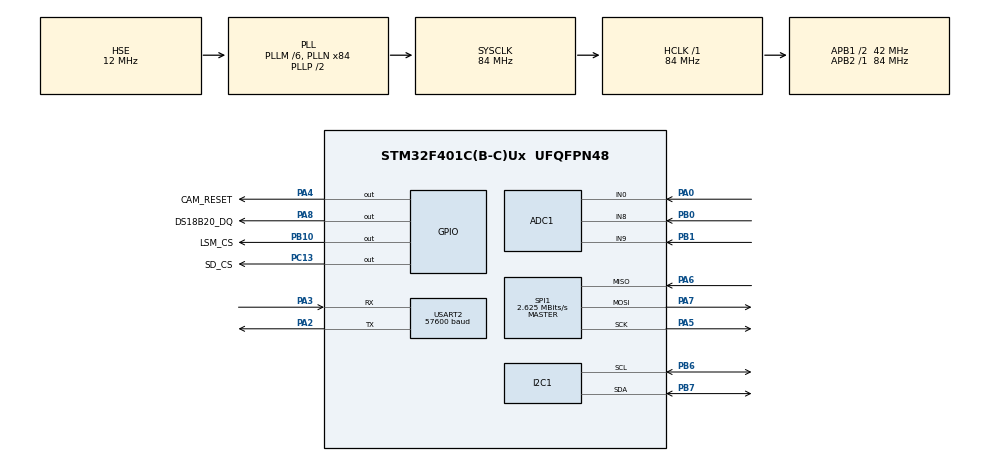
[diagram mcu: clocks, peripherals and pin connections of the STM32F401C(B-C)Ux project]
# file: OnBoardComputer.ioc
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ADC1.Channel-0\#ChannelRegularConversion=ADC_CHANNEL_0
ADC1.Channel-1\#ChannelRegularConversion=ADC_CHANNEL_8
ADC1.Channel-2\#ChannelRegularConversion=ADC_CHANNEL_9
ADC1.ContinuousConvMode=ENABLE
ADC1.DMAContinuousRequests=ENABLE
ADC1.NbrOfConversion=3
ADC1.NbrOfConversionFlag=1
ADC1.Rank-0\#ChannelRegularConversion=1
ADC1.Rank-1\#ChannelRegularConversion=2
ADC1.Rank-2\#ChannelRegularConversion=3
ADC1.SamplingTime-0\#ChannelRegularConversion=ADC_SAMPLETIME_480CYCLES
ADC1.SamplingTime-1\#ChannelRegularConversion=ADC_SAMPLETIME_480CYCLES
ADC1.SamplingTime-2\#ChannelRegularConversion=ADC_SAMPLETIME_480CYCLES
ADC1.ScanConvMode=ENABLE
ADC1.master=1
Dma.ADC1.0.Direction=DMA_PERIPH_TO_MEMORY
Dma.ADC1.0.FIFOMode=DMA_FIFOMODE_DISABLE
Dma.ADC1.0.Instance=DMA2_Stream0
Dma.ADC1.0.MemDataAlignment=DMA_MDATAALIGN_HALFWORD
Dma.ADC1.0.MemInc=DMA_MINC_ENABLE
Dma.ADC1.0.Mode=DMA_CIRCULAR
Dma.ADC1.0.PeriphDataAlignment=DMA_PDATAALIGN_HALFWORD
Dma.ADC1.0.PeriphInc=DMA_PINC_DISABLE
Dma.ADC1.0.Priority=DMA_PRIORITY_LOW
Dma.Request0=ADC1
FATFS._MAX_SS=4096
FATFS._USE_LFN=1
Mcu.Family=STM32F4
Mcu.Name=STM32F401C(B-C)Ux
Mcu.Package=UFQFPN48
NVIC.DMA2_Stream0_IRQn=true\:0\:0\:false\:false\:true\:false\:true\:true
NVIC.PriorityGroup=NVIC_PRIORITYGROUP_4
PA0-WKUP.Signal=ADCx_IN0
PA13.Mode=Serial_Wire
PA13.Signal=SYS_JTMS-SWDIO
PA14.Mode=Serial_Wire
PA14.Signal=SYS_JTCK-SWCLK
PA2.Mode=Asynchronous
PA2.Signal=USART2_TX
PA3.Mode=Asynchronous
PA3.Signal=USART2_RX
PA4.GPIO_Label=CAM_RESET
PA4.GPIO_ModeDefaultOutputPP=GPIO_MODE_OUTPUT_OD
PA4.GPIO_PuPd=GPIO_PULLUP
PA4.PinState=GPIO_PIN_SET
PA4.Signal=GPIO_Output
PA5.Mode=Full_Duplex_Master
PA5.Signal=SPI1_SCK
PA6.Mode=Full_Duplex_Master
PA6.Signal=SPI1_MISO
PA7.Mode=Full_Duplex_Master
PA7.Signal=SPI1_MOSI
PA8.GPIO_Label=DS18B20_DQ
PA8.GPIO_ModeDefaultOutputPP=GPIO_MODE_OUTPUT_OD
PA8.GPIO_PuPd=GPIO_PULLUP
PA8.GPIO_Speed=GPIO_SPEED_FREQ_HIGH
PA8.PinState=GPIO_PIN_SET
PA8.Signal=GPIO_Output
PB0.Signal=ADCx_IN8
PB1.Signal=ADCx_IN9
PB10.GPIO_Label=LSM_CS
PB10.GPIO_ModeDefaultOutputPP=GPIO_MODE_OUTPUT_PP
PB10.PinState=GPIO_PIN_SET
PB10.Signal=GPIO_Output
PB6.GPIO_Mode=GPIO_MODE_AF_OD
PB6.GPIO_Pu=GPIO_PULLUP
PB6.GPIO_Speed=GPIO_SPEED_FREQ_HIGH
PB6.Mode=I2C
PB6.Signal=I2C1_SCL
PB7.GPIO_Mode=GPIO_MODE_AF_OD
PB7.GPIO_Pu=GPIO_PULLUP
PB7.GPIO_Speed=GPIO_SPEED_FREQ_HIGH
PB7.Mode=I2C
PB7.Signal=I2C1_SDA
PC13-ANTI_TAMP.GPIO_Label=SD_CS
PC13-ANTI_TAMP.PinState=GPIO_PIN_SET
PC13-ANTI_TAMP.Signal=GPIO_Output
PH0\ -\ OSC_IN.Mode=HSE-External-Oscillator
PH0\ -\ OSC_IN.Signal=RCC_OSC_IN
PH1\ -\ OSC_OUT.Mode=HSE-External-Oscillator
PH1\ -\ OSC_OUT.Signal=RCC_OSC_OUT
ProjectManager.HeapSize=0x200
ProjectManager.StackSize=0x400
ProjectManager.TargetToolchain=STM32CubeIDE
RCC.48MHZClocksFreq_Value=42000000
RCC.AHBFreq_Value=84000000
RCC.APB1CLKDivider=RCC_HCLK_DIV2
RCC.APB1Freq_Value=42000000
RCC.APB1TimFreq_Value=84000000
RCC.APB2Freq_Value=84000000
RCC.APB2TimFreq_Value=84000000
RCC.CortexFreq_Value=84000000
RCC.HCLKFreq_Value=84000000
RCC.HSE_VALUE=12000000
RCC.HSI_VALUE=16000000
RCC.LSE_VALUE=32768
RCC.PLLM=6
RCC.PLLN=84
RCC.PLLSourceVirtual=RCC_PLLSOURCE_HSE
RCC.SYSCLKFreq_VALUE=84000000
RCC.SYSCLKSource=RCC_SYSCLKSOURCE_PLLCLK
RCC.VCOOutputFreq_Value=168000000
SH.ADCx_IN0.0=ADC1_IN0,IN0
SH.ADCx_IN8.0=ADC1_IN8,IN8
SH.ADCx_IN9.0=ADC1_IN9,IN9
SPI1.BaudRatePrescaler=SPI_BAUDRATEPRESCALER_32
SPI1.CalculateBaudRate=2.625 MBits/s
SPI1.Direction=SPI_DIRECTION_2LINES
SPI1.Mode=SPI_MODE_MASTER
SPI1.VirtualType=VM_MASTER
TIM11.Prescaler=84-1
TIM2.Prescaler=84-1
USART2.BaudRate=57600
USART2.VirtualMode=VM_ASYNC
VP_FATFS_VS_Generic.Mode=User_defined
VP_TIM11_VS_ClockSourceINT.Mode=Enable_Timer
VP_TIM2_VS_ClockSourceINT.Mode=Internal
board=custom

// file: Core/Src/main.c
/* USER CODE BEGIN Header */
/**
 ******************************************************************************
 * @file           : main.c
 * @brief          : Main program body
 ******************************************************************************
 * @attention
 *
 * Copyright (c) 2022 STMicroelectronics.
 * All rights reserved.
 *
 * This software is licensed under terms that can be found in the LICENSE file
 * in the root directory of this software component.
 * If no LICENSE file comes with this software, it is provided AS-IS.
 *
 ******************************************************************************
 */
/* USER CODE END Header */
#include "main.h"
#include "fatfs.h"

/* USER CODE BEGIN Includes */
#include "SMA_Filter/SMA_filter_lib.h"
#include "DS18B20/DS18B20.h"
#include "LSM6DS3/LSM6DS3.h"
#include "QMC5883L/QMC5883L.h"
#include "MS5607/MS5607.h"
#include "RadioTransmit/Transmitter.h"
#include "UCAM3/UCAM3.h"
#include <stdio.h>
/* USER CODE END Includes */

 ADC_HandleTypeDef hadc1;
DMA_HandleTypeDef hdma_adc1;

I2C_HandleTypeDef hi2c1;

SPI_HandleTypeDef hspi1;

TIM_HandleTypeDef htim2;
TIM_HandleTypeDef htim11;

UART_HandleTypeDef huart2;

/* USER CODE BEGIN PV */
Telemetry telemetry;
Health health;
SoftTimers softTimers;

uint16_t ADC_data[3];
uint16_t SMA_Filter_Buffer_Vbat[SMA_FILTER_ORDER] = { 0, };
uint16_t SMA_Filter_Buffer_ICHARGE[SMA_FILTER_ORDER] = { 0, };
uint16_t SMA_Filter_Buffer_IDISCHARGE[SMA_FILTER_ORDER] = { 0, };

FATFS fs;
FIL fil;
FRESULT fresult;
char buffer[1024];
UINT br, bw;
FATFS *pfs;
DWORD fre_clust;
uint32_t total, free_space;
uint8_t NameLength = 35;
uint16_t PicNum = 0;

uint16_t ADC_Raw[3] = {0x00, 0x00, 0x00};
/* USER CODE END PV */

void SystemClock_Config(void);
static void MX_GPIO_Init(void);
static void MX_TIM2_Init(void);
static void MX_I2C1_Init(void);
static void MX_SPI1_Init(void);
static void MX_DMA_Init(void);
static void MX_USART2_UART_Init(void);
static void MX_ADC1_Init(void);
static void MX_TIM11_Init(void);
/* USER CODE BEGIN PFP */
float ADC_ConvertVBat(uint16_t VbatRaw);
float ADC_Convert_IDS(uint16_t I_raw);
float ADC_Convert_ICH(uint16_t I_raw);
/* USER CODE END PFP */

/* USER CODE BEGIN 0 */

void Delay_us(uint16_t Time) {
	__HAL_TIM_SET_COUNTER(&htim11, 0);

	while (__HAL_TIM_GET_COUNTER(&htim11) < Time);
}

void StructsInit() {

}

uint8_t TransmitRadio(uint8_t *Data, uint8_t Length) {
	uint8_t CommData[3] = { 0x0D, 0x01, Length };

	HAL_StatusTypeDef Status = HAL_I2C_Master_Transmit(&hi2c1, 0x00, CommData, 3, 1000);

	if (Status != HAL_OK) {
		return Transmit_ERROR;
	}

	Delay_us(1000);
	HAL_I2C_Master_Transmit(&hi2c1, 0x00, Data, Length, 1000);

	return Transmit_OK;
}

uint8_t GetAllGPS()
{
	UINT bw;
	uint8_t CommData[3] = { 0x0D, 0x03, 0x00 };

	HAL_StatusTypeDef Status = HAL_I2C_Master_Transmit(&hi2c1, 0x00, CommData, 3, 1000);

	if (Status != HAL_OK) {
		return Transmit_ERROR;
	}

	uint8_t Lth;
	HAL_I2C_Master_Receive(&hi2c1, 0x00, &Lth, 1, 1000);
	uint8_t AllData[Lth];
	HAL_I2C_Master_Receive(&hi2c1, 0x00, AllData, Lth, 1000);

	fresult = f_open(&fil, "AllGPS.bin", FA_OPEN_APPEND | FA_OPEN_ALWAYS | FA_READ | FA_WRITE);
	fresult = f_write(&fil, AllData, Lth, &bw);
	fresult = f_close(&fil);

	return Transmit_OK;
}

uint8_t GetGPS(float *Height, float *Longitude, float *Attitude) {
	uint8_t CommData[3] = { 0x0D, 0x02, 0x00 };
	uint8_t Data[12];
	HAL_StatusTypeDef Status = HAL_I2C_Master_Transmit(&hi2c1, 0x00, CommData,
			3, 1000);

	if (Status != HAL_OK) {
		return Transmit_ERROR;
	}

	HAL_I2C_Master_Receive(&hi2c1, 0x00, Data, 12, 1000);

	*Height = (Data[0] | Data[1] | Data[2] | Data[3]);
	*Longitude = (Data[4] | Data[5] | Data[6] | Data[7]);
	*Attitude = (Data[8] | Data[9] | Data[10] | Data[11]);

	return Transmit_OK;
}

void HealthMonitor() {
	if (health.DS18B20_OK == 0) {
		HAL_TIM_Base_Start(&htim11);
		if (DS18_Init(DS18_SKIP_ROM) == DS18_OK) {
			DS18_StartConv(DS18_SKIP_ROM);
			health.DS18B20_OK = 1;
		}
	}
	if (health.LSM6_OK == 0) {
		LSM6DS3_Init();
		health.LSM6_OK = 1;
	}
	if (health.QMC_OK == 0) {
		QMC5883L_Init(QMC5883L_ODR_100HZ, QMC5883L_RNG_2G, QMC5883L_OSR_512,
		QMC5883L_MODE_CONT);
		health.QMC_OK = 1;
	}
	if (health.MS56_OK == 0) {
		MS5607_Init();
		health.MS56_OK = 1;
	}
	if(health.UCAM_OK == 0){
		if(UCAM3_Init() == UCAM3_OK)
		{
			health.UCAM_OK = 1;
		}
	}

}
void GetData() {

	if (softTimers.DS18B20_REQ > 800) {

		uint16_t temp = 0;

		DS18_GetData(DS18_SKIP_ROM, &temp);
		DS18_StartConv(DS18_SKIP_ROM);
		telemetry.DS18_temp = temp;
		softTimers.DS18B20_REQ = 0;

	}
	if (softTimers.LSM6DS3_REQ > 20) {
		int16_t LSM6DS3_Acc[3];
		int16_t LSM6DS3_Gyro[3];
		LSM6DS3_GetData(LSM6DS3_Acc, LSM6DS3_Gyro);
		telemetry.AccX = LSM6DS3_Acc[0];
		telemetry.GyroX = LSM6DS3_Gyro[0];
		telemetry.AccY = LSM6DS3_Acc[1];
		telemetry.GyroY = LSM6DS3_Gyro[1];
		telemetry.AccZ = LSM6DS3_Acc[2];
		telemetry.GyroZ = LSM6DS3_Gyro[2];
		softTimers.LSM6DS3_REQ = 0;
	}
	if (softTimers.QMC5883_REQ > 100) {
		int16_t MagX = 0;
		int16_t MagY = 0;
		int16_t MagZ = 0;
		QMC5883L_Read_Mag_Data(&MagX, &MagY, &MagZ);
		telemetry.MagX = MagX;
		telemetry.MagY = MagY;
		telemetry.MagZ = MagZ;
		softTimers.QMC5883_REQ = 0;
	}
	if (softTimers.MS5607_REQ > 100) {
		uint32_t MS56_Pres = 0;
		MS5607_GetPres(&MS56_Pres);
		telemetry.MS5607_pres = MS56_Pres;
		softTimers.MS5607_REQ = 0;
	}
	if (softTimers.GPS_GetFull > 5000) {
		softTimers.GPS_GetFull = 0;
		GetAllGPS();
	}
	if (softTimers.GPS_GetShort > 1000) {

	}
	if (softTimers.GetPicture > 30000) {
		if(UCAM3_GetPucture(PicNum) != UCAM3_OK)
		{
			health.UCAM_OK = 0;
		}
		PicNum++;
		softTimers.GetPicture = 0;
	}
}
void SendData() {

	if (softTimers.SD_WriteFull > 100) {
		uint8_t data[48];
		SetAllData(&telemetry, data);

		fresult = f_open(&fil, "MainTLM.bin", FA_OPEN_APPEND | FA_OPEN_ALWAYS | FA_READ | FA_WRITE);
		fresult = f_write(&fil, data, 48, &bw);
		fresult = f_close(&fil);
	}

	if (softTimers.RF_SendMain > 500) {
		softTimers.RF_SendMain = 0;
		uint8_t data[24];
		SetRadioData(&telemetry, data);

		TransmitRadio(data, 24);
	}

}

uint16_t CheckForFiles() {
	char fname[NameLength];
	uint16_t n = 0;

	sprintf(&fname[0], "%d.jpeg", n);
	fresult = f_stat(fname, NULL);

	while (fresult != FR_NO_FILE) {
		char fBuffname[NameLength];

		for (int i = 0; i < NameLength; i++) {
			fBuffname[i] = fname[i];
		}

		n++;
		sprintf(&fBuffname[0], "%d.jpeg", n);
		fresult = f_stat(fBuffname, NULL);
	}

	return n;
}

void WriteOnSD(int n, uint8_t *Data, uint8_t Lth) {
	UINT bw;

	char fname[NameLength];
	sprintf(&fname[0], "%d.jpeg", n);
	fresult = f_open(&fil, &fname[0],
			FA_OPEN_APPEND | FA_OPEN_ALWAYS | FA_READ | FA_WRITE);

	fresult = f_write(&fil, Data, Lth, &bw);

	fresult = f_close(&fil);
}
uint8_t Status = UCAM3_ERROR;
/* USER CODE END 0 */

int main(void)
{

  /* MCU Configuration--------------------------------------------------------*/

  /* Reset of all peripherals, Initializes the Flash interface and the Systick. */
  HAL_Init();

  /* Configure the system clock */
  SystemClock_Config();

  /* USER CODE BEGIN SysInit */
	StructsInit();
  /* USER CODE END SysInit */

  /* Initialize all configured peripherals */
  MX_GPIO_Init();
  MX_TIM2_Init();
  MX_I2C1_Init();
  MX_SPI1_Init();
  MX_FATFS_Init();
  MX_DMA_Init();
  MX_USART2_UART_Init();
  MX_ADC1_Init();
  MX_TIM11_Init();
  /* USER CODE BEGIN 2 */

	HAL_GPIO_WritePin(SD_CS_GPIO_Port, SD_CS_Pin, SET);
	LSM6DS3_CS_Prepare();

	HAL_Delay(100);

	HAL_TIM_Base_Start(&htim2);
	HAL_TIM_Base_Start(&htim11);
	fresult = f_mount(&fs, "", 0);

	HAL_ADC_Start_DMA(&hadc1, (uint32_t*)ADC_Raw, 3);

  /* USER CODE END 2 */

  /* Infinite loop */
  /* USER CODE BEGIN WHILE */

	while (1) {
		HealthMonitor();
		GetData();
		SendData();

		telemetry.Vbat = ADC_Raw[0];
		telemetry.I_CH = ADC_Raw[1];
		telemetry.I_DS = ADC_Raw[2];
		telemetry.Ticks = __HAL_TIM_GET_COUNTER(&htim2);

    /* USER CODE END WHILE */

	}
}

void SystemClock_Config(void)
{
  RCC_OscInitTypeDef RCC_OscInitStruct = {0};
  RCC_ClkInitTypeDef RCC_ClkInitStruct = {0};

  /** Configure the main internal regulator output voltage
  */
  __HAL_RCC_PWR_CLK_ENABLE();
  __HAL_PWR_VOLTAGESCALING_CONFIG(PWR_REGULATOR_VOLTAGE_SCALE2);

  /** Initializes the RCC Oscillators according to the specified parameters
  * in the RCC_OscInitTypeDef structure.
  */
  RCC_OscInitStruct.OscillatorType = RCC_OSCILLATORTYPE_HSE;
  RCC_OscInitStruct.HSEState = RCC_HSE_ON;
  RCC_OscInitStruct.PLL.PLLState = RCC_PLL_ON;
  RCC_OscInitStruct.PLL.PLLSource = RCC_PLLSOURCE_HSE;
  RCC_OscInitStruct.PLL.PLLM = 6;
  RCC_OscInitStruct.PLL.PLLN = 84;
  RCC_OscInitStruct.PLL.PLLP = RCC_PLLP_DIV2;
  RCC_OscInitStruct.PLL.PLLQ = 4;
  if (HAL_RCC_OscConfig(&RCC_OscInitStruct) != HAL_OK)
  {
    Error_Handler();
  }

  /** Initializes the CPU, AHB and APB buses clocks
  */
  RCC_ClkInitStruct.ClockType = RCC_CLOCKTYPE_HCLK|RCC_CLOCKTYPE_SYSCLK
                              |RCC_CLOCKTYPE_PCLK1|RCC_CLOCKTYPE_PCLK2;
  RCC_ClkInitStruct.SYSCLKSource = RCC_SYSCLKSOURCE_PLLCLK;
  RCC_ClkInitStruct.AHBCLKDivider = RCC_SYSCLK_DIV1;
  RCC_ClkInitStruct.APB1CLKDivider = RCC_HCLK_DIV2;
  RCC_ClkInitStruct.APB2CLKDivider = RCC_HCLK_DIV1;

  if (HAL_RCC_ClockConfig(&RCC_ClkInitStruct, FLASH_LATENCY_2) != HAL_OK)
  {
    Error_Handler();
  }
}

static void MX_ADC1_Init(void)
{

  ADC_ChannelConfTypeDef sConfig = {0};

  /** Configure the global features of the ADC (Clock, Resolution, Data Alignment and number of conversion)
  */
  hadc1.Instance = ADC1;
  hadc1.Init.ClockPrescaler = ADC_CLOCK_SYNC_PCLK_DIV4;
  hadc1.Init.Resolution = ADC_RESOLUTION_12B;
  hadc1.Init.ScanConvMode = ENABLE;
  hadc1.Init.ContinuousConvMode = ENABLE;
  hadc1.Init.DiscontinuousConvMode = DISABLE;
  hadc1.Init.ExternalTrigConvEdge = ADC_EXTERNALTRIGCONVEDGE_NONE;
  hadc1.Init.ExternalTrigConv = ADC_SOFTWARE_START;
  hadc1.Init.DataAlign = ADC_DATAALIGN_RIGHT;
  hadc1.Init.NbrOfConversion = 3;
  hadc1.Init.DMAContinuousRequests = ENABLE;
  hadc1.Init.EOCSelection = ADC_EOC_SINGLE_CONV;
  if (HAL_ADC_Init(&hadc1) != HAL_OK)
  {
    Error_Handler();
  }

  /** Configure for the selected ADC regular channel its corresponding rank in the sequencer and its sample time.
  */
  sConfig.Channel = ADC_CHANNEL_0;
  sConfig.Rank = 1;
  sConfig.SamplingTime = ADC_SAMPLETIME_480CYCLES;
  if (HAL_ADC_ConfigChannel(&hadc1, &sConfig) != HAL_OK)
  {
    Error_Handler();
  }

  /** Configure for the selected ADC regular channel its corresponding rank in the sequencer and its sample time.
  */
  sConfig.Channel = ADC_CHANNEL_8;
  sConfig.Rank = 2;
  if (HAL_ADC_ConfigChannel(&hadc1, &sConfig) != HAL_OK)
  {
    Error_Handler();
  }

  /** Configure for the selected ADC regular channel its corresponding rank in the sequencer and its sample time.
  */
  sConfig.Channel = ADC_CHANNEL_9;
  sConfig.Rank = 3;
  if (HAL_ADC_ConfigChannel(&hadc1, &sConfig) != HAL_OK)
  {
    Error_Handler();
  }

}

static void MX_I2C1_Init(void)
{

  hi2c1.Instance = I2C1;
  hi2c1.Init.ClockSpeed = 100000;
  hi2c1.Init.DutyCycle = I2C_DUTYCYCLE_2;
  hi2c1.Init.OwnAddress1 = 0;
  hi2c1.Init.AddressingMode = I2C_ADDRESSINGMODE_7BIT;
  hi2c1.Init.DualAddressMode = I2C_DUALADDRESS_DISABLE;
  hi2c1.Init.OwnAddress2 = 0;
  hi2c1.Init.GeneralCallMode = I2C_GENERALCALL_DISABLE;
  hi2c1.Init.NoStretchMode = I2C_NOSTRETCH_DISABLE;
  if (HAL_I2C_Init(&hi2c1) != HAL_OK)
  {
    Error_Handler();
  }

}

static void MX_SPI1_Init(void)
{

  /* SPI1 parameter configuration*/
  hspi1.Instance = SPI1;
  hspi1.Init.Mode = SPI_MODE_MASTER;
  hspi1.Init.Direction = SPI_DIRECTION_2LINES;
  hspi1.Init.DataSize = SPI_DATASIZE_8BIT;
  hspi1.Init.CLKPolarity = SPI_POLARITY_LOW;
  hspi1.Init.CLKPhase = SPI_PHASE_1EDGE;
  hspi1.Init.NSS = SPI_NSS_SOFT;
  hspi1.Init.BaudRatePrescaler = SPI_BAUDRATEPRESCALER_32;
  hspi1.Init.FirstBit = SPI_FIRSTBIT_MSB;
  hspi1.Init.TIMode = SPI_TIMODE_DISABLE;
  hspi1.Init.CRCCalculation = SPI_CRCCALCULATION_DISABLE;
  hspi1.Init.CRCPolynomial = 10;
  if (HAL_SPI_Init(&hspi1) != HAL_OK)
  {
    Error_Handler();
  }

}

static void MX_TIM2_Init(void)
{

  TIM_ClockConfigTypeDef sClockSourceConfig = {0};
  TIM_MasterConfigTypeDef sMasterConfig = {0};

  htim2.Instance = TIM2;
  htim2.Init.Prescaler = 84-1;
  htim2.Init.CounterMode = TIM_COUNTERMODE_UP;
  htim2.Init.Period = 4294967295;
  htim2.Init.ClockDivision = TIM_CLOCKDIVISION_DIV1;
  htim2.Init.AutoReloadPreload = TIM_AUTORELOAD_PRELOAD_DISABLE;
  if (HAL_TIM_Base_Init(&htim2) != HAL_OK)
  {
    Error_Handler();
  }
  sClockSourceConfig.ClockSource = TIM_CLOCKSOURCE_INTERNAL;
  if (HAL_TIM_ConfigClockSource(&htim2, &sClockSourceConfig) != HAL_OK)
  {
    Error_Handler();
  }
  sMasterConfig.MasterOutputTrigger = TIM_TRGO_RESET;
  sMasterConfig.MasterSlaveMode = TIM_MASTERSLAVEMODE_DISABLE;
  if (HAL_TIMEx_MasterConfigSynchronization(&htim2, &sMasterConfig) != HAL_OK)
  {
    Error_Handler();
  }

}

static void MX_TIM11_Init(void)
{

  htim11.Instance = TIM11;
  htim11.Init.Prescaler = 84-1;
  htim11.Init.CounterMode = TIM_COUNTERMODE_UP;
  htim11.Init.Period = 65535;
  htim11.Init.ClockDivision = TIM_CLOCKDIVISION_DIV1;
  htim11.Init.AutoReloadPreload = TIM_AUTORELOAD_PRELOAD_DISABLE;
  if (HAL_TIM_Base_Init(&htim11) != HAL_OK)
  {
    Error_Handler();
  }

}

static void MX_USART2_UART_Init(void)
{

  huart2.Instance = USART2;
  huart2.Init.BaudRate = 57600;
  huart2.Init.WordLength = UART_WORDLENGTH_8B;
  huart2.Init.StopBits = UART_STOPBITS_1;
  huart2.Init.Parity = UART_PARITY_NONE;
  huart2.Init.Mode = UART_MODE_TX_RX;
  huart2.Init.HwFlowCtl = UART_HWCONTROL_NONE;
  huart2.Init.OverSampling = UART_OVERSAMPLING_16;
  if (HAL_UART_Init(&huart2) != HAL_OK)
  {
    Error_Handler();
  }

}

static void MX_DMA_Init(void)
{

  /* DMA controller clock enable */
  __HAL_RCC_DMA2_CLK_ENABLE();

  /* DMA interrupt init */
  /* DMA2_Stream0_IRQn interrupt configuration */
  HAL_NVIC_SetPriority(DMA2_Stream0_IRQn, 0, 0);
  HAL_NVIC_EnableIRQ(DMA2_Stream0_IRQn);

}

static void MX_GPIO_Init(void)
{
  GPIO_InitTypeDef GPIO_InitStruct = {0};

  /* GPIO Ports Clock Enable */
  __HAL_RCC_GPIOC_CLK_ENABLE();
  __HAL_RCC_GPIOH_CLK_ENABLE();
  __HAL_RCC_GPIOA_CLK_ENABLE();
  __HAL_RCC_GPIOB_CLK_ENABLE();

  /*Configure GPIO pin Output Level */
  HAL_GPIO_WritePin(SD_CS_GPIO_Port, SD_CS_Pin, GPIO_PIN_SET);

  /*Configure GPIO pin Output Level */
  HAL_GPIO_WritePin(GPIOA, CAM_RESET_Pin|DS18B20_DQ_Pin, GPIO_PIN_SET);

  /*Configure GPIO pin Output Level */
  HAL_GPIO_WritePin(LSM_CS_GPIO_Port, LSM_CS_Pin, GPIO_PIN_SET);

  /*Configure GPIO pin : SD_CS_Pin */
  GPIO_InitStruct.Pin = SD_CS_Pin;
  GPIO_InitStruct.Mode = GPIO_MODE_OUTPUT_PP;
  GPIO_InitStruct.Pull = GPIO_NOPULL;
  GPIO_InitStruct.Speed = GPIO_SPEED_FREQ_LOW;
  HAL_GPIO_Init(SD_CS_GPIO_Port, &GPIO_InitStruct);

  /*Configure GPIO pin : CAM_RESET_Pin */
  GPIO_InitStruct.Pin = CAM_RESET_Pin;
  GPIO_InitStruct.Mode = GPIO_MODE_OUTPUT_OD;
  GPIO_InitStruct.Pull = GPIO_PULLUP;
  GPIO_InitStruct.Speed = GPIO_SPEED_FREQ_LOW;
  HAL_GPIO_Init(CAM_RESET_GPIO_Port, &GPIO_InitStruct);

  /*Configure GPIO pin : LSM_CS_Pin */
  GPIO_InitStruct.Pin = LSM_CS_Pin;
  GPIO_InitStruct.Mode = GPIO_MODE_OUTPUT_PP;
  GPIO_InitStruct.Pull = GPIO_NOPULL;
  GPIO_InitStruct.Speed = GPIO_SPEED_FREQ_LOW;
  HAL_GPIO_Init(LSM_CS_GPIO_Port, &GPIO_InitStruct);

  /*Configure GPIO pin : DS18B20_DQ_Pin */
  GPIO_InitStruct.Pin = DS18B20_DQ_Pin;
  GPIO_InitStruct.Mode = GPIO_MODE_OUTPUT_OD;
  GPIO_InitStruct.Pull = GPIO_PULLUP;
  GPIO_InitStruct.Speed = GPIO_SPEED_FREQ_HIGH;
  HAL_GPIO_Init(DS18B20_DQ_GPIO_Port, &GPIO_InitStruct);

}

/* USER CODE BEGIN 4 */
void HAL_SYSTICK_Callback(void) {
	softTimers.DS18B20_REQ++;
	softTimers.LSM6DS3_REQ++;
	softTimers.QMC5883_REQ++;
	softTimers.MS5607_REQ++;
	softTimers.GPS_GetFull++;
	softTimers.GPS_GetShort++;

	softTimers.SD_WriteFull++;
	softTimers.SD_WriteGPS_Full++;

	softTimers.RF_SendMain++;
	softTimers.RF_SendIMU++;

	softTimers.GetPicture++;
}
/*
void HAL_ADC_ConvCpltCallback(ADC_HandleTypeDef *hadc) {
	 if(hadc->Instance == ADC1) //check if the interrupt comes from ACD1
	 {
	 telemetry.Vbat = SMA_FILTER_Get_Value(SMA_Filter_Buffer_Vbat, &ADC_data[0]);
	 telemetry.I_CH = SMA_FILTER_Get_Value(SMA_Filter_Buffer_ICHARGE, &ADC_data[1]);
	 telemetry.I_DS = SMA_FILTER_Get_Value(SMA_Filter_Buffer_IDISCHARGE, &ADC_data[2]);
	 }
}
*/
float ADC_ConvertVBat(uint16_t VbatRaw) {
	return 2 * (VbatRaw * 3.3f / 4096.0f);
}
float ADC_Convert_IDS(uint16_t I_raw) {
	return I_raw * 0.0289 - 5.5502 + 10;
}
float ADC_Convert_ICH(uint16_t I_raw) {
	return I_raw * 0.0289 - 5.5502 - 10;
}
/* USER CODE END 4 */

void Error_Handler(void)
{
	__disable_irq();
	while (1) {
	}
}
